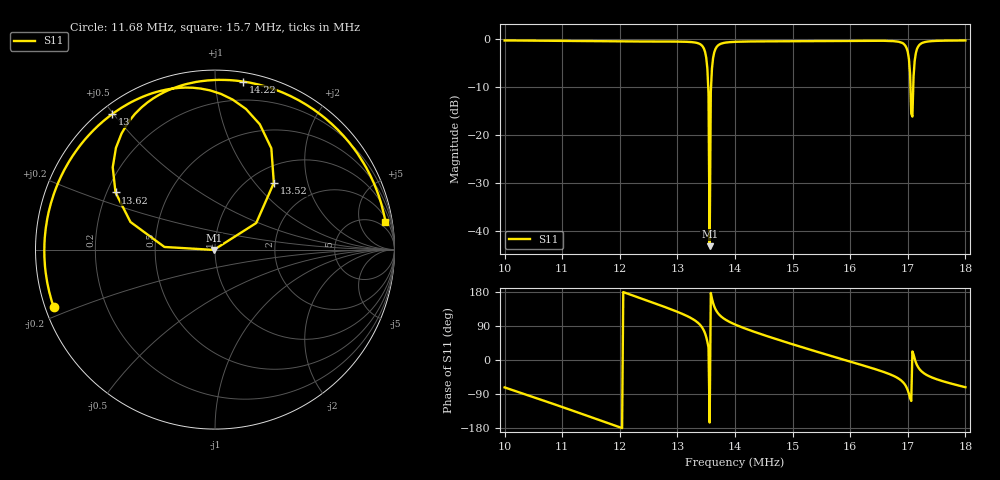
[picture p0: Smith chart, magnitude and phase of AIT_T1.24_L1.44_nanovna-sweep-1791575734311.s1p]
! NanoVNA Web complex sweep
! Processing: original sample grid, no browser smoothing
# Hz S RI R 50
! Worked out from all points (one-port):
!   401 points, 10 MHz to 18 MHz, reference 50 ohm
!   lowest |S11| = -43.3 dB at 13.56 MHz (marker M1), VSWR 1.01, Z = 49.3 - j0.175 ohm
!   |S11| at or under -10 dB: 13.5351 MHz to 13.58404 MHz (48.94 kHz wide, 0.361 % of centre); 17.04661 MHz to 17.09469 MHz (48.09 kHz wide, 0.282 % of centre)
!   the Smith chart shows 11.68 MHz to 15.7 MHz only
!   S11 on the Smith chart (normalised r, x): 11.68 MHz: 0.02, -0.17; 13 MHz: 0.03, +0.50; 13.52 MHz: 1.28, +1.26; 13.62 MHz: 0.24, +0.25; 14.22 MHz: 0.06, +1.18; 15.7 MHz: 3, +12
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1e7  0.2955 -0.9276
1.1e7  -0.5403 -0.7983
1.168e7  -0.8985 -0.3211
1.2e7  -0.9505 -0.0411
1.25e7  -0.864 0.3942
1.3e7  -0.572 0.7555
1.328e7  -0.269 0.8919
1.344e7  0.0989 0.8356
1.35e7  0.3139 0.5643
1.352e7  0.3278 0.3715
1.356e7  -0.00664 -0.00177
1.36e7  -0.471 0.1539
1.362e7  -0.5543 0.3182
1.374e7  -0.4111 0.7909
1.4e7  -0.0614 0.9402
1.422e7  0.1555 0.9365
1.5e7  0.7168 0.6331
1.57e7  0.9497 0.154
1.6e7  0.96 -0.073
1.674e7  0.7247 -0.6286
1.69e7  0.5137 -0.7629
1.7e7  0.1235 -0.7265
1.704e7  -0.0823 -0.4248
1.71e7  0.3952 0.103
1.716e7  0.7738 -0.1875
1.722e7  0.7967 -0.4076
1.746e7  0.6376 -0.7204
1.8e7  0.304 -0.9253
